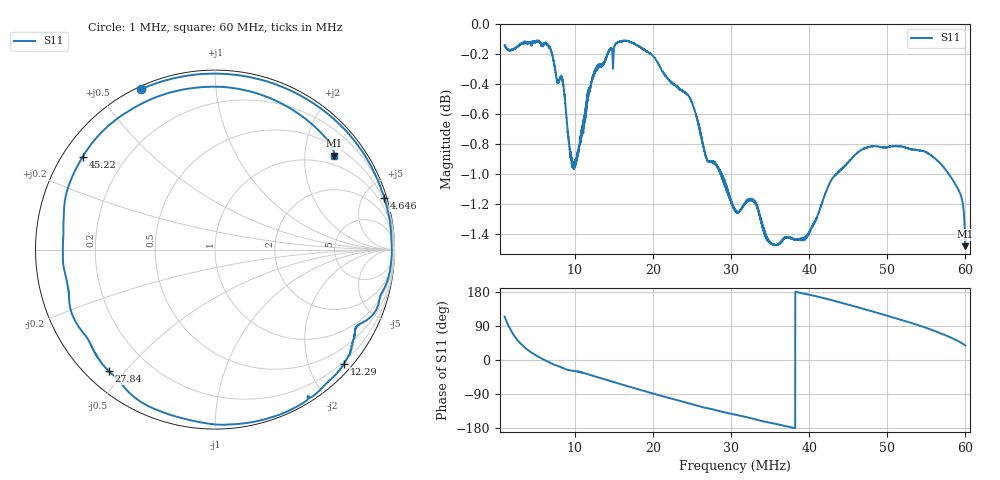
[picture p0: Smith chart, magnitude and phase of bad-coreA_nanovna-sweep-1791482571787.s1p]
! NanoVNA Web complex sweep
! Processing: unaveraged complex samples; linear segment spacing; no smoothing
# Hz S RI R 50
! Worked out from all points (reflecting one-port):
!   5050 points, 1 MHz to 60 MHz, reference 50 ohm
!   lowest |S11| = -1.5 dB at 60 MHz (marker M1), VSWR 11.78, Z = 37.3 + j135 ohm
!   phase of S11 starts at 115 deg and turns -436 deg over the sweep
!   S11 on the Smith chart (normalised r, x): 1 MHz: 0.01, +0.64; 4.646 MHz: 0.32, +6.71; 12.29 MHz: 0.16, -2.63; 27.84 MHz: 0.06, -0.45; 45.22 MHz: 0.06, +0.32; 60 MHz: 0.75, +2.70
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1000000  -0.4118 0.8935
1198645  -0.2409 0.9518
1689415  0.1303 0.9718
2133445  0.3867 0.9011
2600845  0.5834 0.7908
3500590  0.8137 0.5566
4645720  0.9437 0.2869
6351730  0.9841 -0.042
8384920  0.897 -0.3356
9576790  0.7958 -0.4239
1.228771e7  0.7179 -0.6368
1.575816e7  0.4469 -0.8797
1.945062e7  0.0819 -0.975
2.313139e7  -0.2648 -0.9154
2.558524e7  -0.4712 -0.8037
2.784044e7  -0.5925 -0.6759
3.050462e7  -0.7036 -0.5073
3.328566e7  -0.8065 -0.3268
3.787786e7  -0.848 -0.0225
4.230648e7  -0.8338 0.2858
4.521604e7  -0.7367 0.5183
4.52511e7  -0.7352 0.5209
4.893187e7  -0.4985 0.7617
5.262433e7  -0.1679 0.8935
5.485616e7  0.0689 0.9042
5.683093e7  0.2982 0.8476
5.863042e7  0.5142 0.7205
5.999756e7  0.6622 0.5225
